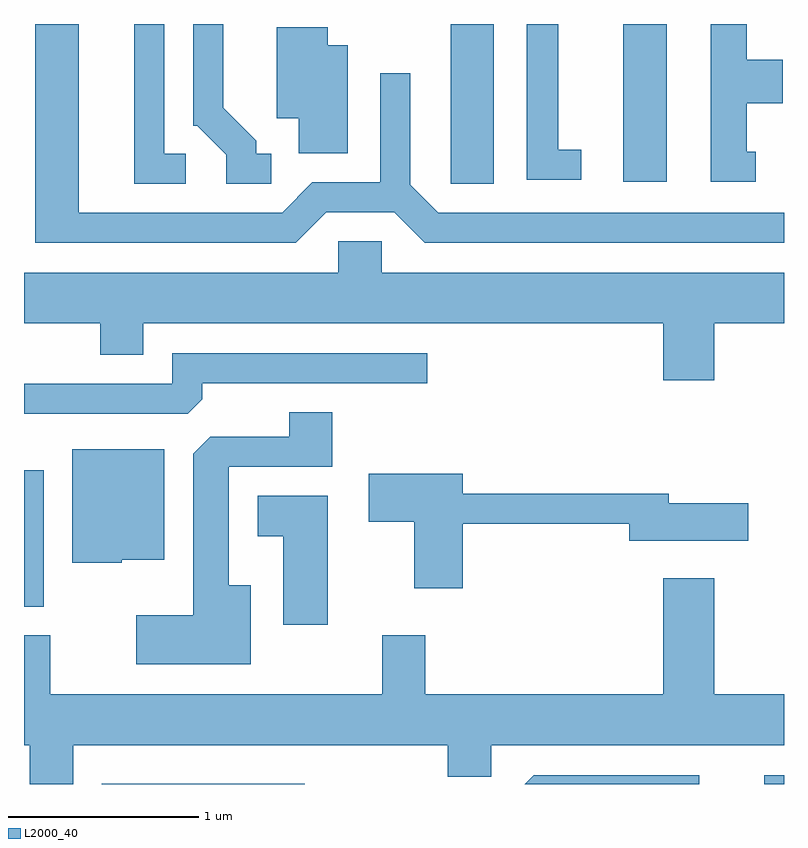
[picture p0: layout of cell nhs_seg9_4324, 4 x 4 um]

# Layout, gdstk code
import gdstk
lib = gdstk.Library(unit=1e-6, precision=1e-09)
def R(c, l, rs):  # rectangles x0, y0, x1, y1
    for r in rs: c.add(gdstk.rectangle(r[:2], r[2:], *l))
def P(c, l, *ps):  # polygons
    for p in ps: c.add(gdstk.Polygon(p, *l))
L2000_40 = (2000, 40)

nhs_seg9_4324 = lib.new_cell('nhs_seg9_4324')
R(nhs_seg9_4324, L2000_40, [(312.021,2060.432,313.089,2060.434), (315.506,2060.432,315.611,2060.479), (311.611,2061.366,311.714,2062.084), (313.856,2063.591,314.084,2064.432), (314.766,2063.601,314.994,2064.432)])
P(nhs_seg9_4324, L2000_40, [(312.463,2063.749),(312.349,2063.749),(312.349,2064.432),(312.191,2064.432),(312.191,2063.591),(312.463,2063.591)],
  [(315.463,2063.759),(315.414,2063.759),(315.414,2064.016),(315.604,2064.016),(315.604,2064.244),(315.414,2064.244),(315.414,2064.432),(315.226,2064.432),(315.226,2063.601),(315.463,2063.601)],
  [(314.543,2063.769),(314.424,2063.769),(314.424,2064.432),(314.256,2064.432),(314.256,2063.611),(314.543,2063.611)],
  [(312.913,2063.749),(312.834,2063.749),(312.834,2063.817),(312.659,2063.992),(312.659,2064.432),(312.501,2064.432),(312.501,2063.896),(312.524,2063.896),(312.676,2063.744),(312.676,2063.591),(312.913,2063.591)],
  [(313.202,2063.441),(313.559,2063.441),(313.719,2063.281),(315.611,2063.281),(315.611,2063.439),(313.792,2063.439),(313.644,2063.587),(313.644,2064.173),(313.486,2064.173),(313.486,2063.599),(313.129,2063.599),(312.969,2063.439),(311.899,2063.439),(311.899,2064.432),(311.671,2064.432),(311.671,2063.281),(313.042,2063.281)],
  [(313.314,2064.319),(313.209,2064.319),(313.209,2064.414),(312.941,2064.414),(312.941,2063.936),(313.056,2063.936),(313.056,2063.751),(313.314,2063.751)],
  [(315.244,2062.856),(315.611,2062.856),(315.611,2063.124),(313.494,2063.124),(313.494,2063.289),(313.266,2063.289),(313.266,2063.124),(311.611,2063.124),(311.611,2062.856),(312.011,2062.856),(312.011,2062.691),(312.239,2062.691),(312.239,2062.856),(314.976,2062.856),(314.976,2062.556),(315.244,2062.556)],
  [(312.549,2062.457),(312.549,2062.541),(313.733,2062.541),(313.733,2062.699),(312.391,2062.699),(312.391,2062.539),(311.611,2062.539),(311.611,2062.381),(312.474,2062.381)],
  [(312.804,2061.479),(312.689,2061.479),(312.689,2062.101),(313.234,2062.101),(313.234,2062.389),(313.006,2062.389),(313.006,2062.259),(312.592,2062.259),(312.501,2062.169),(312.501,2061.319),(312.201,2061.319),(312.201,2061.061),(312.804,2061.061)],
  [(312.125,2061.611),(312.349,2061.611),(312.349,2062.194),(311.866,2062.194),(311.866,2061.596),(312.125,2061.596)],
  [(313.919,2061.801),(314.796,2061.801),(314.796,2061.711),(315.424,2061.711),(315.424,2061.909),(315.004,2061.909),(315.004,2061.959),(313.919,2061.959),(313.919,2062.064),(313.426,2062.064),(313.426,2061.811),(313.666,2061.811),(313.666,2061.461),(313.919,2061.461)],
  [(313.209,2061.949),(312.841,2061.949),(312.841,2061.736),(312.976,2061.736),(312.976,2061.271),(313.209,2061.271)],
  [(311.869,2060.636),(313.841,2060.636),(313.841,2060.471),(314.069,2060.471),(314.069,2060.636),(315.611,2060.636),(315.611,2060.904),(315.244,2060.904),(315.244,2061.514),(314.976,2061.514),(314.976,2060.904),(313.724,2060.904),(313.724,2061.214),(313.496,2061.214),(313.496,2060.904),(311.749,2060.904),(311.749,2061.214),(311.611,2061.214),(311.611,2060.636),(311.641,2060.636),(311.641,2060.432),(311.869,2060.432)],
  [(315.164,2060.479),(314.294,2060.479),(314.247,2060.432),(315.164,2060.432)])

lib.write_gds('nhs_seg9_4324.gds')
